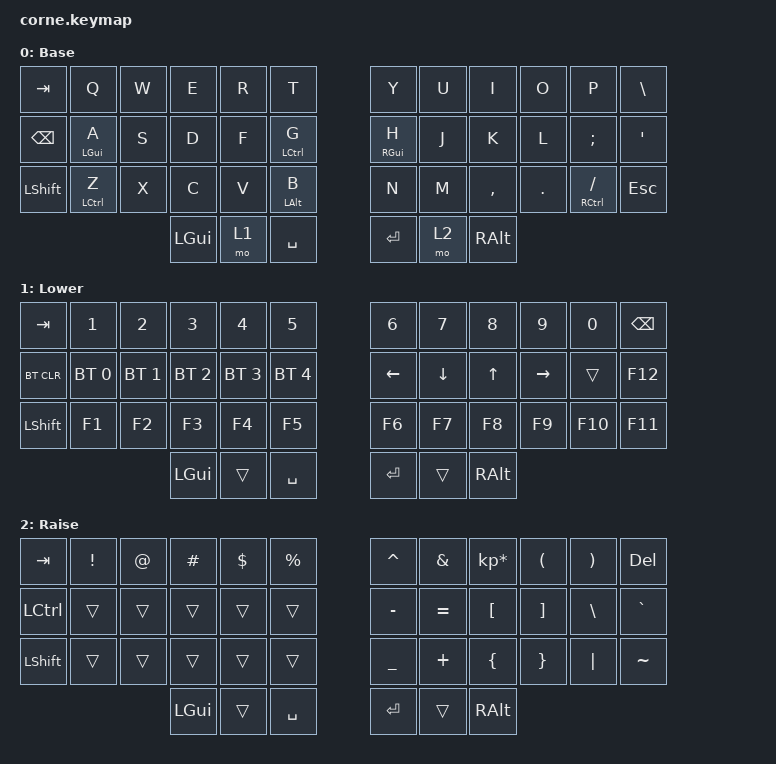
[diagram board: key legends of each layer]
/*
 * Copyright (c) 2020 The ZMK Contributors
 *
 * SPDX-License-Identifier: MIT
 */

#include <behaviors.dtsi>
#include <dt-bindings/zmk/bt.h>
#include <dt-bindings/zmk/keys.h>

/ {
    behaviors {
        gqt: global-quick-tap {
            compatible = "zmk,behavior-hold-tap";
            label = "GLOBAL_QUICK_TAP";
            #binding-cells = <2>;
            flavor = "tap-preferred";
            tapping-term-ms = <200>;
            quick-tap-ms = <150>;
            global-quick-tap;
            bindings =
                <&kp>,
                <&kp>;
        };
    };

    keymap {
        compatible = "zmk,keymap";

        default_layer {
            // -----------------------------------------------------------------------------------------
            // |  TAB |  Q  |  W  |  E  |  R  |  T  |   |  Y  |  U   |  I  |  O  |  P  | BKSP |
            // | CTRL |  A  |  S  |  D  |  F  |  G  |   |  H  |  J   |  K  |  L  |  ;  |  '   |
            // | SHFT |  Z  |  X  |  C  |  V  |  B  |   |  N  |  M   |  ,  |  .  |  /  | ESC  |
            //                    | GUI | LWR | SPC |   | ENT | RSE  | ALT |

            label = "Base";
            bindings = <
      &kp TAB               &kp Q  &kp W     &kp E  &kp R                &kp T               &kp Y  &kp U      &kp I    &kp O                     &kp P  &kp BACKSLASH
&kp BACKSPACE     &gqt LEFT_GUI A  &kp S     &kp D  &kp F  &gqt LEFT_CONTROL G    &gqt RIGHT_GUI H  &kp J      &kp K    &kp L                  &kp SEMI        &kp SQT
    &kp LSHFT  &mt LEFT_CONTROL Z  &kp X     &kp C  &kp V      &gqt LEFT_ALT B               &kp N  &kp M  &kp COMMA  &kp DOT  &gqt RIGHT_CONTROL SLASH        &kp ESC
                                          &kp LGUI  &mo 1            &kp SPACE             &kp RET  &mo 2   &kp RALT
            >;
        };

        lower_layer {
            // -----------------------------------------------------------------------------------------
            // |  TAB |  1  |  2  |  3  |  4  |  5  |   |  6  |  7  |  8  |  9  |  0  | BKSP |
            // | BTCLR| BT1 | BT2 | BT3 | BT4 | BT5 |   | LFT | DWN |  UP | RGT |     |      |
            // | SHFT |     |     |     |     |     |   |     |     |     |     |     |      |
            //                    | GUI |     | SPC |   | ENT |     | ALT |

            label = "Lower";
            bindings = <
   &kp TAB        &kp N1        &kp N2        &kp N3        &kp N4        &kp N5      &kp N6    &kp N7    &kp N8     &kp N9   &kp N0  &kp BSPC
&bt BT_CLR  &bt BT_SEL 0  &bt BT_SEL 1  &bt BT_SEL 2  &bt BT_SEL 3  &bt BT_SEL 4    &kp LEFT  &kp DOWN    &kp UP  &kp RIGHT   &trans   &kp F12
 &kp LSHFT        &kp F1        &kp F2        &kp F3        &kp F4        &kp F5      &kp F6    &kp F7    &kp F8     &kp F9  &kp F10   &kp F11
                                            &kp LGUI        &trans     &kp SPACE     &kp RET    &trans  &kp RALT
            >;
        };

        raise_layer {
            // -----------------------------------------------------------------------------------------
            // |  TAB |  !  |  @  |  #  |  $  |  %  |   |  ^  |  &  |  *  |  (  |  )  | BKSP |
            // | CTRL |     |     |     |     |     |   |  -  |  =  |  [  |  ]  |  \  |  `   |
            // | SHFT |     |     |     |     |     |   |  _  |  +  |  {  |  }  | "|" |  ~   |
            //                    | GUI |     | SPC |   | ENT |     | ALT |

            label = "Raise";
            bindings = <
  &kp TAB  &kp EXCL  &kp AT  &kp HASH  &kp DLLR  &kp PRCNT    &kp CARET   &kp AMPS  &kp KP_MULTIPLY  &kp LPAR  &kp RPAR    &kp DEL
&kp LCTRL    &trans  &trans    &trans    &trans     &trans    &kp MINUS  &kp EQUAL         &kp LBKT  &kp RBKT  &kp BSLH  &kp GRAVE
&kp LSHFT    &trans  &trans    &trans    &trans     &trans    &kp UNDER   &kp PLUS         &kp LBRC  &kp RBRC  &kp PIPE  &kp TILDE
                             &kp LGUI    &trans  &kp SPACE      &kp RET     &trans         &kp RALT
            >;
        };
    };
};
